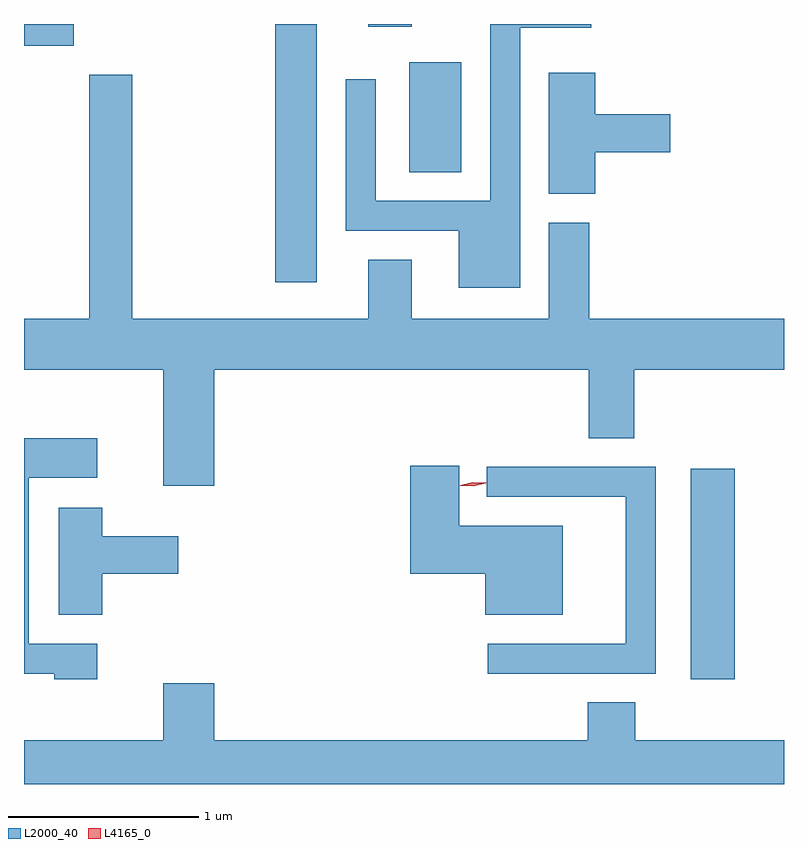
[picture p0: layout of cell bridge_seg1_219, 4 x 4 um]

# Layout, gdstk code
import gdstk
lib = gdstk.Library(unit=1e-6, precision=1e-09)
def R(c, l, rs):  # rectangles x0, y0, x1, y1
    for r in rs: c.add(gdstk.rectangle(r[:2], r[2:], *l))
def P(c, l, *ps):  # polygons
    for p in ps: c.add(gdstk.Polygon(p, *l))
L2000_40 = (2000, 40)
L4165_0 = (4165, 0)

bridge_seg1_219 = lib.new_cell('bridge_seg1_219')
R(bridge_seg1_219, L2000_40, [(777.291,895.726,777.524,896.834), (775.106,897.816,775.324,899.175), (775.811,898.396,776.084,898.974), (773.783,899.061,774.044,899.175), (775.596,899.161,775.824,899.175)])
P(bridge_seg1_219, L2000_40, [(776.394,899.156),(776.768,899.156),(776.768,899.175),(776.236,899.175),(776.236,898.244),(775.634,898.244),(775.634,898.883),(775.476,898.883),(775.476,898.086),(776.071,898.086),(776.071,897.786),(776.394,897.786)],
  [(776.789,898.501),(777.184,898.501),(777.184,898.699),(776.789,898.699),(776.789,898.919),(776.546,898.919),(776.546,898.281),(776.789,898.281)],
  [(774.784,897.356),(776.756,897.356),(776.756,896.996),(776.994,896.996),(776.994,897.356),(777.783,897.356),(777.783,897.624),(776.759,897.624),(776.759,898.129),(776.546,898.129),(776.546,897.624),(775.824,897.624),(775.824,897.934),(775.596,897.934),(775.596,897.624),(774.354,897.624),(774.354,898.909),(774.126,898.909),(774.126,897.624),(773.783,897.624),(773.783,897.356),(774.516,897.356),(774.516,896.746),(774.784,896.746)],
  [(774.169,895.914),(773.809,895.914),(773.809,896.786),(774.169,896.786),(774.169,896.994),(773.783,896.994),(773.783,895.756),(773.941,895.756),(773.941,895.726),(774.169,895.726)],
  [(776.619,896.534),(776.074,896.534),(776.074,896.849),(775.816,896.849),(775.816,896.281),(776.211,896.281),(776.211,896.066),(776.619,896.066)],
  [(777.109,896.844),(776.218,896.844),(776.218,896.686),(776.951,896.686),(776.951,895.914),(776.223,895.914),(776.223,895.756),(777.109,895.756)],
  [(774.194,896.281),(774.594,896.281),(774.594,896.479),(774.194,896.479),(774.194,896.629),(773.966,896.629),(773.966,896.066),(774.194,896.066)],
  [(777.783,895.404),(776.999,895.404),(776.999,895.604),(776.751,895.604),(776.751,895.404),(774.784,895.404),(774.784,895.704),(774.516,895.704),(774.516,895.404),(773.783,895.404),(773.783,895.175),(777.783,895.175)])
P(bridge_seg1_219, L4165_0, [(776.148,896.741),(776.081,896.744),(776.081,896.745),(776.081,896.745),(776.146,896.761),(776.212,896.758),(776.213,896.758),(776.212,896.757)],
  [(776.148,896.744),(776.078,896.746),(776.078,896.747),(776.078,896.748),(776.146,896.764),(776.215,896.761),(776.216,896.76),(776.215,896.76)])

lib.write_gds('bridge_seg1_219.gds')
